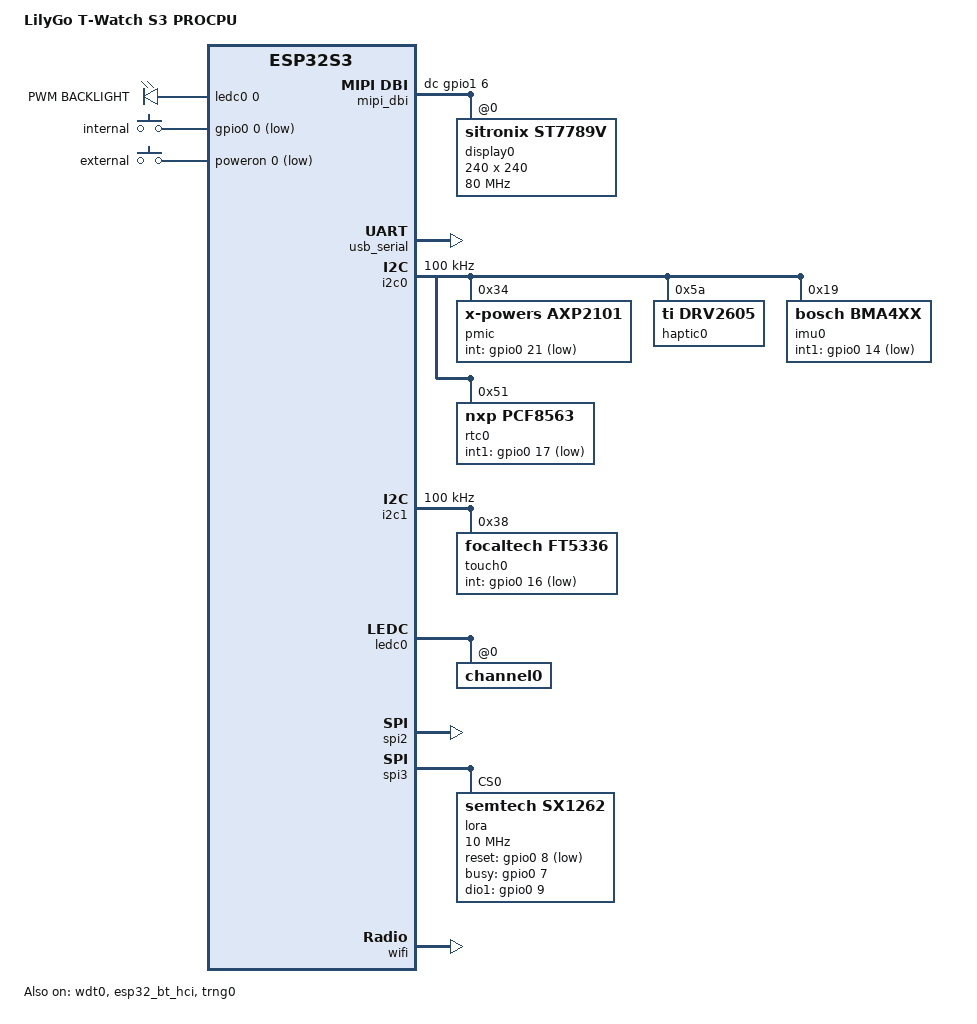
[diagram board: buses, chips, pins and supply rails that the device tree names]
/*
 * Copyright (c) 2025 Noah Luskey (noah@vvvvvvvvv.io)
 *
 * SPDX-License-Identifier: Apache-2.0
 */
/dts-v1/;

#include <espressif/esp32s3/esp32s3_r8.dtsi>
#include <espressif/partitions_0x0_amp_8M.dtsi>
#include "t_watch_s3-pinctrl.dtsi"
#include <zephyr/dt-bindings/pwm/pwm.h>
#include <zephyr/dt-bindings/mipi_dbi/mipi_dbi.h>
#include <zephyr/dt-bindings/regulator/axp2101.h>
#include <zephyr/dt-bindings/input/input-event-codes.h>
#include <zephyr/dt-bindings/lora/sx126x.h>

/ {
	model = "LilyGo T-Watch S3 PROCPU";
	compatible = "espressif,esp32s3";

	aliases {
		backlight = &ledk;
		haptic = &haptic0;
		touch = &touch0;
		accel = &imu0;
		rtc = &rtc0;
		buttons = &buttons;
		charger = &charger;
		fuel-gauge = &fuel_gauge;
		lora = &lora;
	};

	chosen {
		zephyr,sram = &sram0;
		zephyr,console = &usb_serial;
		zephyr,shell-uart = &usb_serial;
		zephyr,flash-controller = &flash;
		zephyr,flash = &flash0;
		zephyr,code-partition = &slot0_partition;
		zephyr,bt-hci = &esp32_bt_hci;
		zephyr,display = &display0;
	};

	lvgl_pointer {
		status = "okay";
		compatible = "zephyr,lvgl-pointer-input";
		input = <&touch0>;
		swap-xy;
	};

	pwmleds {
		status = "okay";
		compatible = "pwm-leds";
		ledk: pwm_ledc0_channel0 {
			label = "PWM BACKLIGHT";
			pwms = <&ledc0 0 100000 PWM_POLARITY_NORMAL>;
		};
	};

	// internal reset button referred labeled S1 on schematic
	buttons: gpio_keys {
		status = "okay";
		compatible = "gpio-keys";
		internal {
			gpios = <&gpio0 0 GPIO_ACTIVE_LOW>;
			zephyr,code = <INPUT_BTN_EXTRA>;
		};

		external {
			gpios = <&poweron 0 GPIO_ACTIVE_LOW>;
			zephyr,code = <INPUT_BTN_SIDE>;
		};
	};

	mipi_dbi {
		status = "okay";
		compatible = "zephyr,mipi-dbi-spi";
		spi-dev = <&spi2>;
		#address-cells = <1>;
		#size-cells = <0>;
		dc-gpios = <&gpio1 6 GPIO_ACTIVE_HIGH>;
		write-only;

		display0: st7789v@0 {
			compatible = "sitronix,st7789v";
			status = "okay";
			mipi-mode = <MIPI_DBI_MODE_SPI_4WIRE>;
			mipi-max-frequency = <DT_FREQ_M(80)>;
			reg = <0>;
			width = <240>;
			height = <240>;
			x-offset = <0>;
			y-offset = <80>;
			vcom = <0x28>;
			gctrl = <0x75>;
			vrhs = <0x1F>;
			vdvs = <0xC4>;
			mdac = <0xc8>;
			gamma = <0x01>;
			colmod = <0x55>;
			lcm = <0x0c>;
			porch-param = [ 0b 0b 00 33 33  ];
			cmd2en-param = [ 5a 69 02 01  ];
			pwctrl1-param = [ a4 a1  ];
			pvgam-param = [ F0 05 0A 06 06 03 2B 32 43 36 11 10 2B 32  ];
			nvgam-param = [ F0 08 0C 0B 09 24 2B 22 43 38 15 16 2F 37  ];
			ram-param = [ 00 E0  ];
			rgb-param = [ CD 08 14  ];
		};
	};
};

&usb_serial {
	status = "okay";
};

&i2c0 {
	status = "okay";
	clock-frequency = <I2C_BITRATE_STANDARD>;
	pinctrl-0 = <&i2c0_default>;
	pinctrl-names = "default";

	pmic: axp2101@34 {
		status = "okay";
		compatible = "x-powers,axp2101";
		reg = <0x34>;
		button-battery-charge-enable;
		int-gpios = <&gpio0 21 (GPIO_ACTIVE_LOW | GPIO_PULL_UP)>;

		poweron: gpio {
			status = "okay";
			compatible = "x-powers,axp2101-gpio";
			gpio-controller;
			ngpios = <1>;
			#gpio-cells = <2>;
			initial-state-high;
		};

		charger: charger {
			status = "okay";
			compatible = "x-powers,axp2101-charger";
			device-chemistry = "lithium-ion";
			precharge-current-microamp = <47000>;
			charge-term-current-microamp = <14000>;
			constant-charge-current-max-microamp = <235000>;
			// the battery is labeled as 3.8v, meaning
			// the actual max is probably more like 4.35 volts
			constant-charge-voltage-max-microvolt = <4200000>;
		};

		fuel_gauge: fuel_gauge {
			status = "okay";
			compatible = "x-powers,axp2101-fuel-gauge";
		};

		regulators {
			status = "okay";
			compatible = "x-powers,axp2101-regulator";

			lcd_vdd: ALDO2 {
				regulator-init-microvolt = <3300000>;
				regulator-boot-on;
			};

			ldo5: BLDO2 {
				regulator-init-microvolt = <3300000>;
				regulator-boot-on;
			};

			gps_vdd: ALDO4 {
				regulator-init-microvolt = <3300000>;
				regulator-boot-on;
			};
		};
	};

	haptic0: drv2605@5a {
		status = "okay";
		compatible = "ti,drv2605";
		reg = <0x5a>;
		actuator-mode = "ERM";
	};

	imu0: bma423@19 {
		status = "okay";
		compatible = "bosch,bma4xx";
		reg = <0x19>;
		int1-gpios = <&gpio0 14 (GPIO_ACTIVE_LOW | GPIO_PULL_UP)>;
	};

	rtc0: pcf8563@51 {
		status = "okay";
		compatible = "nxp,pcf8563";
		reg = <0x51>;
		int1-gpios = <&gpio0 17 (GPIO_ACTIVE_LOW | GPIO_PULL_UP)>;
	};
};

&i2c1 {
	status = "okay";
	clock-frequency = <I2C_BITRATE_STANDARD>;
	pinctrl-0 = <&i2c1_default>;
	pinctrl-names = "default";

	touch0: ft5336@38 {
		status = "okay";
		compatible = "focaltech,ft5336";
		reg = <0x38>;
		int-gpios = <&gpio0 16 (GPIO_ACTIVE_LOW | GPIO_PULL_UP)>;
	};
};

&ledc0 {
	status = "okay";
	pinctrl-0 = <&ledc0_default>;
	pinctrl-names = "default";
	#address-cells = <1>;
	#size-cells = <0>;
	channel0@0 {
		status = "okay";
		reg = <0x0>;
		timer = <0>;
	};
};

&wdt0 {
	status = "okay";
};

&esp32_bt_hci {
	status = "okay";
};

&spi2 {
	status = "okay";
	#address-cells = <1>;
	#size-cells = <0>;
	pinctrl-0 = <&spi2_default>;
	pinctrl-names = "default";
};

&spi3 {
	status = "okay";
	#address-cells = <1>;
	#size-cells = <0>;
	pinctrl-0 = <&spi3_default>;
	pinctrl-names = "default";

	lora: sx1262@0 {
		status = "okay";
		compatible = "semtech,sx1262";
		reg = <0>;
		spi-max-frequency = <DT_FREQ_M(10)>;
		reset-gpios = <&gpio0 8 GPIO_ACTIVE_LOW>;
		busy-gpios = <&gpio0 7 GPIO_ACTIVE_HIGH>;
		dio1-gpios = <&gpio0 9 (GPIO_ACTIVE_HIGH | GPIO_PULL_DOWN)>;

		// BUG (#22): These values should *not* be necessary. According to the schematic
		// DIO3 is not powering any tcxo (oscillator), but without these values the
		// device simply locks up on transmission. Investigate further.
		dio3-tcxo-voltage = <SX126X_DIO3_TCXO_3V3>;
		tcxo-power-startup-delay-ms = <5>;
	};
};


&wifi {
	status = "okay";
};

&trng0 {
	status = "okay";
};
